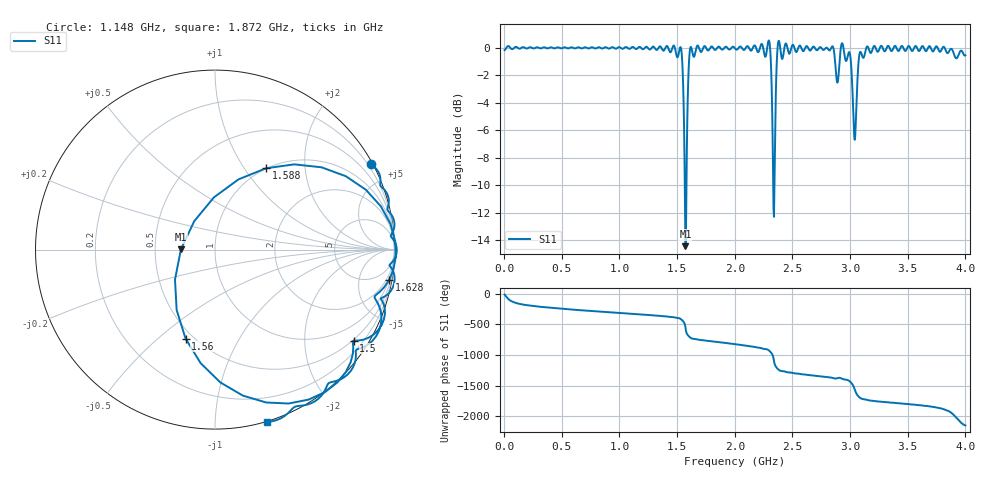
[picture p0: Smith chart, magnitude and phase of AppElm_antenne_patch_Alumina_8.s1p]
! TOUCHSTONE file generated by CST MICROWAVE STUDIO
! Date and time: Thu Jun  9 15:16:44 2022
! Project name: AppElm_antenne_patch_Alumina.cst
! Parameters = {L=30.5; W=41.8; e=0.035; h=1.6; lambda=0.190476; ls=90; w0=1.12; w1=0.373; ws=90; y0=14; y1=11}
! Header version: 2018
! Port assignment regex: !\s*Touchstone port\s*([0-9]+)\s*=\s*(CST MWS port|CST DS port)\s*([0-9]+|Zmin|Zmax)\s*\(\"(.*)\"\)(\s*mode\s*([0-9]+))?.*
! Touchstone port assignment:
! Touchstone port 1 = CST MWS port 1 ("")
# GHz S MA R 50
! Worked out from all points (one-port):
!   1000 points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, 4 MHz to 4 GHz, reference 50 ohm
!   lowest |S11| = -14.4 dB at 1.572 GHz (marker M1), VSWR 1.47, Z = 34 + j0.137 ohm
!   |S11| at or under -10 dB: 1.567 GHz to 1.581 GHz (14.37 MHz wide, 0.913 % of centre); 2.33351 GHz to 2.343977 GHz (10.47 MHz wide, 0.448 % of centre)
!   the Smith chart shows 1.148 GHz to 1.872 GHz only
!   S11 on the Smith chart (normalised r, x): 1.148 GHz: 0.08, +3.90; 1.5 GHz: 0.47, -3.28; 1.56 GHz: 0.45, -0.62; 1.588 GHz: 0.99, +1.26; 1.628 GHz: 1, -11; 1.872 GHz: -0.00, -1.35
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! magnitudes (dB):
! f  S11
! 4 MHz  -0.2
! 504 MHz  0.0
! 1.004 GHz  0.0
! 1.148 GHz  -0.1
! 1.5 GHz  -0.7
! 1.504 GHz  -0.7
! 1.536 GHz  -0.1
! 1.56 GHz  -5.6
! 1.572 GHz  -14.4
! 1.588 GHz  -5.4
! 1.608 GHz  -0.4
! 1.628 GHz  -0.1
! 1.872 GHz  0.0
! 2.004 GHz  -0.1
! 2.292 GHz  0.5
! 2.308 GHz  -0.2
! 2.328 GHz  -6.4
! 2.34 GHz  -12.3
! 2.38 GHz  0.5
! 2.504 GHz  0.2
! 2.84 GHz  0.1
! 2.888 GHz  -2.5
! 2.936 GHz  0.3
! 3.004 GHz  -0.7
! 3.04 GHz  -6.7
! 3.092 GHz  -0.3
! 3.504 GHz  0.1
! 4 GHz  -0.5
